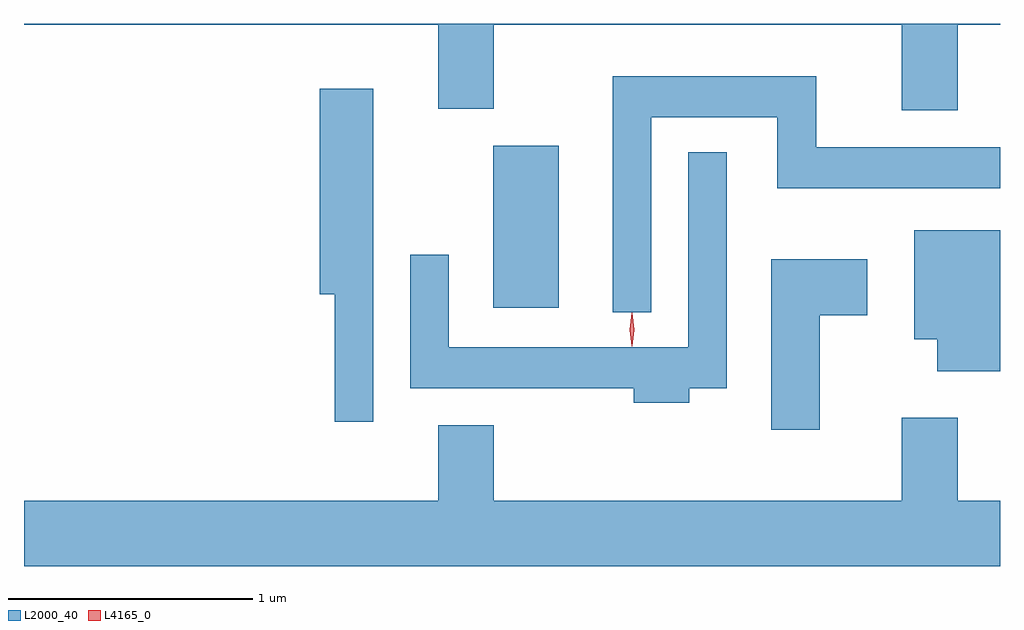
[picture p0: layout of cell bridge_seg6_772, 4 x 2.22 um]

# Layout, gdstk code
import gdstk
lib = gdstk.Library(unit=1e-6, precision=1e-09)
def R(c, l, rs):  # rectangles x0, y0, x1, y1
    for r in rs: c.add(gdstk.rectangle(r[:2], r[2:], *l))
def P(c, l, *ps):  # polygons
    for p in ps: c.add(gdstk.Polygon(p, *l))
L2000_40 = (2000, 40)
L4165_0 = (4165, 0)

bridge_seg6_772 = lib.new_cell('bridge_seg6_772')
R(bridge_seg6_772, L2000_40, [(484.996,1535.556,485.264,1536.219)])
P(bridge_seg6_772, L2000_40, [(486.899,1536.716),(487.073,1536.716),(487.073,1536.72),(483.073,1536.72),(483.073,1536.716),(484.771,1536.716),(484.771,1536.371),(484.999,1536.371),(484.999,1536.716),(486.671,1536.716),(486.671,1536.366),(486.899,1536.366)],
  [(485.644,1536.336),(486.161,1536.336),(486.161,1536.046),(487.073,1536.046),(487.073,1536.214),(486.319,1536.214),(486.319,1536.504),(485.486,1536.504),(485.486,1535.538),(485.644,1535.538)],
  [(484.504,1536.454),(484.286,1536.454),(484.286,1535.611),(484.346,1535.611),(484.346,1535.088),(484.504,1535.088)],
  [(485.799,1535.226),(485.954,1535.226),(485.954,1536.193),(485.796,1536.193),(485.796,1535.394),(484.814,1535.394),(484.814,1535.773),(484.656,1535.773),(484.656,1535.226),(485.571,1535.226),(485.571,1535.166),(485.799,1535.166)],
  [(487.073,1535.874),(486.721,1535.874),(486.721,1535.426),(486.816,1535.426),(486.816,1535.296),(487.073,1535.296)],
  [(486.334,1535.526),(486.529,1535.526),(486.529,1535.754),(486.136,1535.754),(486.136,1535.056),(486.334,1535.056)],
  [(487.073,1534.764),(486.899,1534.764),(486.899,1535.104),(486.671,1535.104),(486.671,1534.764),(484.999,1534.764),(484.999,1535.074),(484.771,1535.074),(484.771,1534.764),(483.073,1534.764),(483.073,1534.496),(487.073,1534.496)])
P(bridge_seg6_772, L4165_0, [(485.564,1535.397),(485.555,1535.466),(485.564,1535.536),(485.565,1535.536),(485.565,1535.536),(485.575,1535.466),(485.565,1535.397),(485.565,1535.397)],
  [(485.565,1535.399),(485.564,1535.4),(485.555,1535.466),(485.564,1535.532),(485.565,1535.533),(485.565,1535.532),(485.575,1535.466),(485.565,1535.4)])

lib.write_gds('bridge_seg6_772.gds')
